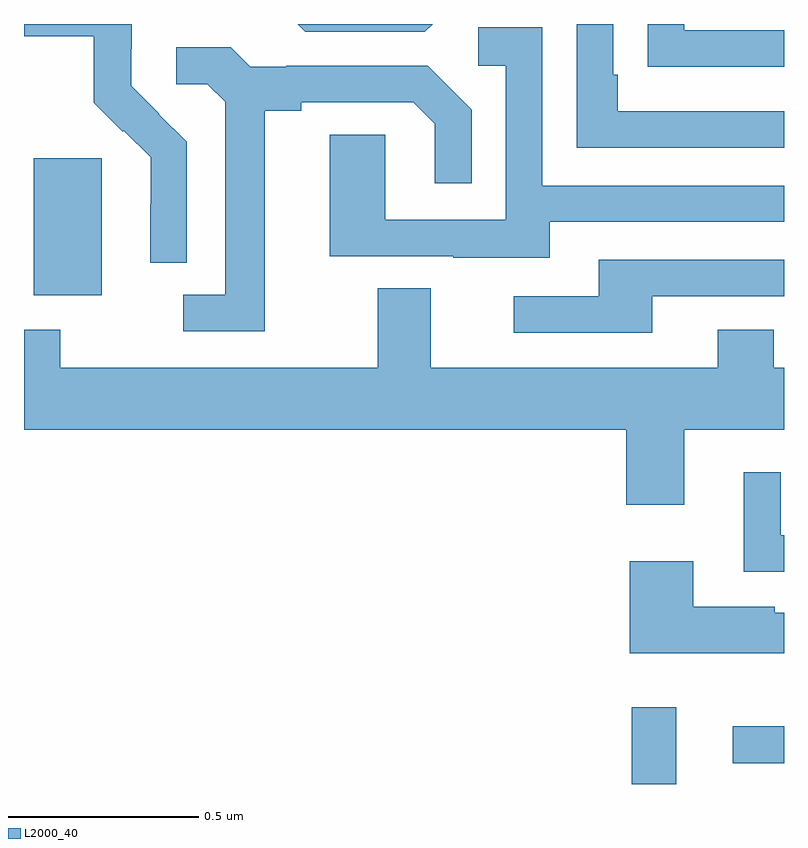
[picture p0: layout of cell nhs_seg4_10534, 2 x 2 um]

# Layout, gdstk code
import gdstk
lib = gdstk.Library(unit=1e-6, precision=1e-09)
def R(c, l, rs):  # rectangles x0, y0, x1, y1
    for r in rs: c.add(gdstk.rectangle(r[:2], r[2:], *l))
def P(c, l, *ps):  # polygons
    for p in ps: c.add(gdstk.Polygon(p, *l))
L2000_40 = (2000, 40)

nhs_seg4_10534 = lib.new_cell('nhs_seg4_10534')
R(nhs_seg4_10534, L2000_40, [(242.599,783.9,242.716,784.102), (242.865,783.954,243,784.052), (241.025,785.186,241.204,785.547)])
P(nhs_seg4_10534, L2000_40, [(241.428,785.59),(241.355,785.663),(241.356,785.664),(241.282,785.738),(241.282,785.835),(241.284,785.835),(241.284,785.9),(241,785.9),(241,785.868),(241.183,785.868),(241.183,785.693),(241.26,785.616),(241.263,785.619),(241.334,785.549),(241.334,785.426),(241.332,785.426),(241.332,785.272),(241.428,785.272)],
  [(242.075,785.9),(241.72,785.9),(241.74,785.88),(242.055,785.88)],
  [(243,785.67),(242.563,785.67),(242.563,785.767),(242.55,785.767),(242.55,785.9),(242.454,785.9),(242.454,785.574),(243,785.574)],
  [(243,785.883),(242.737,785.883),(242.737,785.9),(242.641,785.9),(242.641,785.788),(242.743,785.788),(242.743,785.787),(243,785.787)],
  [(242.383,785.379),(243,785.379),(243,785.475),(242.364,785.475),(242.364,785.891),(242.196,785.891),(242.196,785.79),(242.268,785.79),(242.268,785.385),(241.95,785.385),(241.95,785.609),(241.805,785.609),(241.805,785.289),(242.129,785.289),(242.129,785.285),(242.383,785.285)],
  [(241.633,785.672),(241.729,785.672),(241.729,785.694),(242.024,785.694),(242.081,785.637),(242.081,785.481),(242.178,785.481),(242.178,785.674),(242.062,785.79),(241.69,785.79),(241.69,785.787),(241.596,785.787),(241.544,785.839),(241.401,785.839),(241.401,785.742),(241.482,785.742),(241.529,785.695),(241.529,785.187),(241.419,785.187),(241.419,785.091),(241.633,785.091)],
  [(242.653,785.184),(243,785.184),(243,785.28),(242.513,785.28),(242.513,785.184),(242.289,785.184),(242.289,785.088),(242.653,785.088)],
  [(242.737,784.832),(243,784.832),(243,784.996),(242.973,784.996),(242.973,785.095),(242.825,785.095),(242.825,784.996),(242.071,784.996),(242.071,785.204),(241.931,785.204),(241.931,784.996),(241.095,784.996),(241.095,785.095),(241,785.095),(241,784.832),(242.585,784.832),(242.585,784.635),(242.737,784.635)],
  [(243,784.554),(242.992,784.554),(242.992,784.72),(242.894,784.72),(242.894,784.458),(243,784.458)],
  [(243,784.351),(242.976,784.351),(242.976,784.366),(242.761,784.366),(242.761,784.486),(242.594,784.486),(242.594,784.244),(243,784.244)])

lib.write_gds('nhs_seg4_10534.gds')
